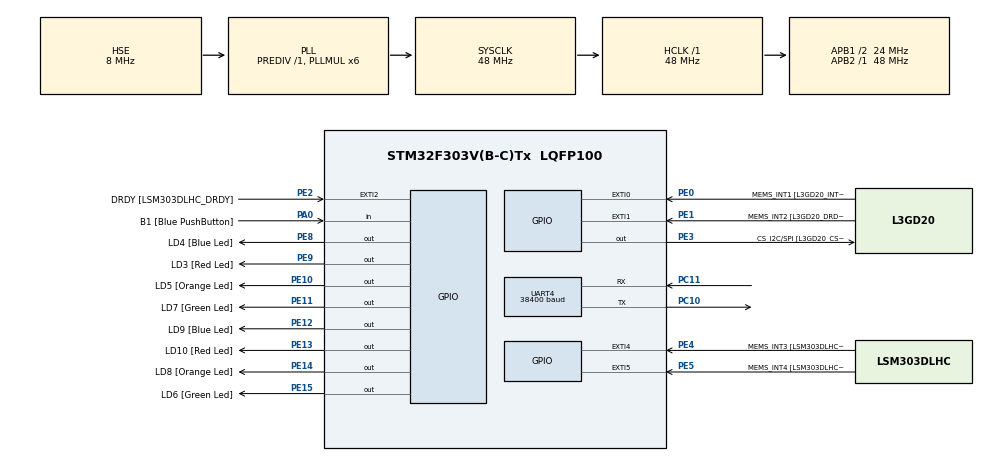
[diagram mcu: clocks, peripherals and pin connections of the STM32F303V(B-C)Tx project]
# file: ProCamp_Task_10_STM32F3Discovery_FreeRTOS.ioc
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FREERTOS.Tasks01=defaultTask,0,255,StartDefaultTask,Default,NULL,Dynamic,NULL,NULL;myTask02,0,128,StartTask02,Default,NULL,Dynamic,NULL,NULL
FREERTOS.configGENERATE_RUN_TIME_STATS=1
FREERTOS.configUSE_IDLE_HOOK=1
FREERTOS.configUSE_NEWLIB_REENTRANT=1
FREERTOS.configUSE_STATS_FORMATTING_FUNCTIONS=1
FREERTOS.configUSE_TRACE_FACILITY=1
Mcu.Family=STM32F3
Mcu.Name=STM32F303V(B-C)Tx
Mcu.Package=LQFP100
NVIC.PriorityGroup=NVIC_PRIORITYGROUP_4
NVIC.TIM1_UP_TIM16_IRQn=true\:15\:0\:false\:false\:true\:false\:false\:true
NVIC.TimeBase=TIM1_UP_TIM16_IRQn
NVIC.TimeBaseIP=TIM1
PA0.GPIO_Label=B1 [Blue PushButton]
PA0.Signal=GPIO_Input
PA11.GPIO_Label=DM
PA11.Signal=USB_DM
PA12.GPIO_Label=DP
PA12.Signal=USB_DP
PA13.GPIO_Label=SWDIO
PA13.Mode=Serial_Wire
PA13.Signal=SYS_JTMS-SWDIO
PA14.GPIO_Label=SWCLK
PA14.Mode=Serial_Wire
PA14.Signal=SYS_JTCK-SWCLK
PA5.GPIO_Label=SPI1_SCK [L3GD20_SCL/SPC]
PA5.Signal=SPI1_SCK
PA6.GPIO_Label=SPI1_MISO [L3GD20_SA0/SDO]
PA6.Signal=SPI1_MISO
PA7.GPIO_Label=SPI1_MISO [L3GD20_SDA/SDI/SDO]
PA7.Signal=SPI1_MOSI
PB3.GPIO_Label=SWO
PB3.Signal=SYS_JTDO-TRACESWO
PB6.GPIO_Label=I2C1_SCL [LSM303DLHC_SCL]
PB6.GPIO_Pu=GPIO_PULLUP
PB6.Signal=I2C1_SCL
PB7.GPIO_Label=I2C1_SDA [LSM303DLHC_SDA]
PB7.GPIO_Pu=GPIO_PULLUP
PB7.Signal=I2C1_SDA
PC10.Mode=Asynchronous
PC10.Signal=UART4_TX
PC11.Mode=Asynchronous
PC11.Signal=UART4_RX
PC14-OSC32_IN.GPIO_Label=OSC32_IN
PC14-OSC32_IN.Signal=RCC_OSC32_IN
PC15-OSC32_OUT.GPIO_Label=OSC32_OUT
PC15-OSC32_OUT.Signal=RCC_OSC32_OUT
PE0.GPIO_Label=MEMS_INT1 [L3GD20_INT1]
PE0.GPIO_ModeDefaultEXTI=GPIO_MODE_EVT_RISING
PE0.Signal=GPXTI0
PE1.GPIO_Label=MEMS_INT2 [L3GD20_DRDY/INT2]
PE1.GPIO_ModeDefaultEXTI=GPIO_MODE_EVT_RISING
PE1.Signal=GPXTI1
PE10.GPIO_Label=LD5 [Orange Led]
PE10.Signal=GPIO_Output
PE11.GPIO_Label=LD7 [Green Led]
PE11.Signal=GPIO_Output
PE12.GPIO_Label=LD9 [Blue Led]
PE12.Signal=GPIO_Output
PE13.GPIO_Label=LD10 [Red Led]
PE13.Signal=GPIO_Output
PE14.GPIO_Label=LD8 [Orange Led]
PE14.Signal=GPIO_Output
PE15.GPIO_Label=LD6 [Green Led]
PE15.Signal=GPIO_Output
PE2.GPIO_Label=DRDY [LSM303DLHC_DRDY]
PE2.GPIO_ModeDefaultEXTI=GPIO_MODE_EVT_RISING
PE2.Signal=GPXTI2
PE3.GPIO_Label=CS_I2C/SPI [L3GD20_CS_I2C/SPI]
PE3.Signal=GPIO_Output
PE4.GPIO_Label=MEMS_INT3 [LSM303DLHC_INT1]
PE4.GPIO_ModeDefaultEXTI=GPIO_MODE_EVT_RISING
PE4.Signal=GPXTI4
PE5.GPIO_Label=MEMS_INT4 [LSM303DLHC_INT2]
PE5.GPIO_ModeDefaultEXTI=GPIO_MODE_EVT_RISING
PE5.Signal=GPXTI5
PE8.GPIO_Label=LD4 [Blue Led]
PE8.Signal=GPIO_Output
PE9.GPIO_Label=LD3 [Red Led]
PE9.Signal=GPIO_Output
PF0-OSC_IN.GPIO_Label=OSC_IN
PF0-OSC_IN.Mode=HSE-External-Clock-Source
PF0-OSC_IN.Signal=RCC_OSC_IN
PF1-OSC_OUT.GPIO_Label=OSC_OUT
PF1-OSC_OUT.Signal=RCC_OSC_OUT
ProjectManager.HeapSize=0x200
ProjectManager.StackSize=0x400
ProjectManager.TargetToolchain=STM32CubeIDE
RCC.AHBFreq_Value=48000000
RCC.APB1CLKDivider=RCC_HCLK_DIV2
RCC.APB1Freq_Value=24000000
RCC.APB1TimFreq_Value=48000000
RCC.APB2Freq_Value=48000000
RCC.APB2TimFreq_Value=48000000
RCC.CortexFreq_Value=48000000
RCC.HCLKFreq_Value=48000000
RCC.HSE_VALUE=8000000
RCC.HSI_VALUE=8000000
RCC.LSE_VALUE=32768
RCC.PLLMUL=RCC_PLL_MUL6
RCC.PLLSourceVirtual=RCC_PLLSOURCE_HSE
RCC.SYSCLKFreq_VALUE=48000000
RCC.SYSCLKSourceVirtual=RCC_SYSCLKSOURCE_PLLCLK
RCC.USBFreq_Value=48000000
UART4.BaudRate=38400
VP_FREERTOS_VS_CMSIS_V1.Mode=CMSIS_V1
VP_SYS_VS_tim1.Mode=TIM1
board=STM32F3DISCOVERY

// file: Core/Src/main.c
/* USER CODE BEGIN Header */
/**
  ******************************************************************************
  * @file           : main.c
  * @brief          : Main program body
  ******************************************************************************
  * @attention
  *
  * <h2><center>&copy; Copyright (c) 2021 STMicroelectronics.
  * All rights reserved.</center></h2>
  *
  * This software component is licensed by ST under BSD 3-Clause license,
  * the "License"; You may not use this file except in compliance with the
  * License. You may obtain a copy of the License at:
  *                        opensource.org/licenses/BSD-3-Clause
  *
  ******************************************************************************
  */
/* USER CODE END Header */
#include "main.h"
#include "cmsis_os.h"

/* USER CODE BEGIN Includes */
#include "stdio.h"
#include "string.h"
/* USER CODE END Includes */

UART_HandleTypeDef huart4;

osThreadId defaultTaskHandle;
osThreadId myTask02Handle;
/* USER CODE BEGIN PV */
osThreadId Task01Handle;
unsigned long ulIdleCycleCount = 0UL;
char str1[60];
char str_buf[1000]={'\0'};
/* USER CODE END PV */

void SystemClock_Config(void);
static void MX_GPIO_Init(void);
static void MX_UART4_Init(void);
void StartDefaultTask(void const * argument);
void StartTask02(void const * argument);

/* USER CODE BEGIN PFP */
void Task01(void const * argument);
/* USER CODE END PFP */

int main(void)
{

  /* MCU Configuration--------------------------------------------------------*/

  /* Reset of all peripherals, Initializes the Flash interface and the Systick. */
  HAL_Init();

  /* Configure the system clock */
  SystemClock_Config();

  /* Initialize all configured peripherals */
  MX_GPIO_Init();
  MX_UART4_Init();

  /* Create the thread(s) */
  /* definition and creation of defaultTask */
  osThreadDef(defaultTask, StartDefaultTask, osPriorityNormal, 0, 255);
  defaultTaskHandle = osThreadCreate(osThread(defaultTask), NULL);

  /* definition and creation of myTask02 */
  osThreadDef(myTask02, StartTask02, osPriorityNormal, 0, 128);
  myTask02Handle = osThreadCreate(osThread(myTask02), NULL);

  /* Start scheduler */
  osKernelStart();

  /* We should never get here as control is now taken by the scheduler */
  /* Infinite loop */
  while (1)
  {

  }
}

void SystemClock_Config(void)
{
  RCC_OscInitTypeDef RCC_OscInitStruct = {0};
  RCC_ClkInitTypeDef RCC_ClkInitStruct = {0};
  RCC_PeriphCLKInitTypeDef PeriphClkInit = {0};

  /** Initializes the RCC Oscillators according to the specified parameters
  * in the RCC_OscInitTypeDef structure.
  */
  RCC_OscInitStruct.OscillatorType = RCC_OSCILLATORTYPE_HSE;
  RCC_OscInitStruct.HSEState = RCC_HSE_BYPASS;
  RCC_OscInitStruct.HSEPredivValue = RCC_HSE_PREDIV_DIV1;
  RCC_OscInitStruct.HSIState = RCC_HSI_ON;
  RCC_OscInitStruct.PLL.PLLState = RCC_PLL_ON;
  RCC_OscInitStruct.PLL.PLLSource = RCC_PLLSOURCE_HSE;
  RCC_OscInitStruct.PLL.PLLMUL = RCC_PLL_MUL6;
  if (HAL_RCC_OscConfig(&RCC_OscInitStruct) != HAL_OK)
  {
    Error_Handler();
  }
  /** Initializes the CPU, AHB and APB buses clocks
  */
  RCC_ClkInitStruct.ClockType = RCC_CLOCKTYPE_HCLK|RCC_CLOCKTYPE_SYSCLK
                              |RCC_CLOCKTYPE_PCLK1|RCC_CLOCKTYPE_PCLK2;
  RCC_ClkInitStruct.SYSCLKSource = RCC_SYSCLKSOURCE_PLLCLK;
  RCC_ClkInitStruct.AHBCLKDivider = RCC_SYSCLK_DIV1;
  RCC_ClkInitStruct.APB1CLKDivider = RCC_HCLK_DIV2;
  RCC_ClkInitStruct.APB2CLKDivider = RCC_HCLK_DIV1;

  if (HAL_RCC_ClockConfig(&RCC_ClkInitStruct, FLASH_LATENCY_1) != HAL_OK)
  {
    Error_Handler();
  }
  PeriphClkInit.PeriphClockSelection = RCC_PERIPHCLK_UART4;
  PeriphClkInit.Uart4ClockSelection = RCC_UART4CLKSOURCE_PCLK1;
  if (HAL_RCCEx_PeriphCLKConfig(&PeriphClkInit) != HAL_OK)
  {
    Error_Handler();
  }
}

static void MX_UART4_Init(void)
{

  huart4.Instance = UART4;
  huart4.Init.BaudRate = 38400;
  huart4.Init.WordLength = UART_WORDLENGTH_8B;
  huart4.Init.StopBits = UART_STOPBITS_1;
  huart4.Init.Parity = UART_PARITY_NONE;
  huart4.Init.Mode = UART_MODE_TX_RX;
  huart4.Init.HwFlowCtl = UART_HWCONTROL_NONE;
  huart4.Init.OverSampling = UART_OVERSAMPLING_16;
  huart4.Init.OneBitSampling = UART_ONE_BIT_SAMPLE_DISABLE;
  huart4.AdvancedInit.AdvFeatureInit = UART_ADVFEATURE_NO_INIT;
  if (HAL_UART_Init(&huart4) != HAL_OK)
  {
    Error_Handler();
  }

}

static void MX_GPIO_Init(void)
{
  GPIO_InitTypeDef GPIO_InitStruct = {0};

  /* GPIO Ports Clock Enable */
  __HAL_RCC_GPIOE_CLK_ENABLE();
  __HAL_RCC_GPIOC_CLK_ENABLE();
  __HAL_RCC_GPIOF_CLK_ENABLE();
  __HAL_RCC_GPIOA_CLK_ENABLE();
  __HAL_RCC_GPIOB_CLK_ENABLE();

  /*Configure GPIO pin Output Level */
  HAL_GPIO_WritePin(GPIOE, CS_I2C_SPI_Pin|LD4_Pin|LD3_Pin|LD5_Pin
                          |LD7_Pin|LD9_Pin|LD10_Pin|LD8_Pin
                          |LD6_Pin, GPIO_PIN_RESET);

  /*Configure GPIO pins : DRDY_Pin MEMS_INT3_Pin MEMS_INT4_Pin MEMS_INT1_Pin
                           MEMS_INT2_Pin */
  GPIO_InitStruct.Pin = DRDY_Pin|MEMS_INT3_Pin|MEMS_INT4_Pin|MEMS_INT1_Pin
                          |MEMS_INT2_Pin;
  GPIO_InitStruct.Mode = GPIO_MODE_EVT_RISING;
  GPIO_InitStruct.Pull = GPIO_NOPULL;
  HAL_GPIO_Init(GPIOE, &GPIO_InitStruct);

  /*Configure GPIO pins : CS_I2C_SPI_Pin LD4_Pin LD3_Pin LD5_Pin
                           LD7_Pin LD9_Pin LD10_Pin LD8_Pin
                           LD6_Pin */
  GPIO_InitStruct.Pin = CS_I2C_SPI_Pin|LD4_Pin|LD3_Pin|LD5_Pin
                          |LD7_Pin|LD9_Pin|LD10_Pin|LD8_Pin
                          |LD6_Pin;
  GPIO_InitStruct.Mode = GPIO_MODE_OUTPUT_PP;
  GPIO_InitStruct.Pull = GPIO_NOPULL;
  GPIO_InitStruct.Speed = GPIO_SPEED_FREQ_LOW;
  HAL_GPIO_Init(GPIOE, &GPIO_InitStruct);

  /*Configure GPIO pin : B1_Pin */
  GPIO_InitStruct.Pin = B1_Pin;
  GPIO_InitStruct.Mode = GPIO_MODE_INPUT;
  GPIO_InitStruct.Pull = GPIO_NOPULL;
  HAL_GPIO_Init(B1_GPIO_Port, &GPIO_InitStruct);

  /*Configure GPIO pins : SPI1_SCK_Pin SPI1_MISO_Pin SPI1_MISOA7_Pin */
  GPIO_InitStruct.Pin = SPI1_SCK_Pin|SPI1_MISO_Pin|SPI1_MISOA7_Pin;
  GPIO_InitStruct.Mode = GPIO_MODE_AF_PP;
  GPIO_InitStruct.Pull = GPIO_NOPULL;
  GPIO_InitStruct.Speed = GPIO_SPEED_FREQ_HIGH;
  GPIO_InitStruct.Alternate = GPIO_AF5_SPI1;
  HAL_GPIO_Init(GPIOA, &GPIO_InitStruct);

  /*Configure GPIO pins : DM_Pin DP_Pin */
  GPIO_InitStruct.Pin = DM_Pin|DP_Pin;
  GPIO_InitStruct.Mode = GPIO_MODE_AF_PP;
  GPIO_InitStruct.Pull = GPIO_NOPULL;
  GPIO_InitStruct.Speed = GPIO_SPEED_FREQ_HIGH;
  GPIO_InitStruct.Alternate = GPIO_AF14_USB;
  HAL_GPIO_Init(GPIOA, &GPIO_InitStruct);

  /*Configure GPIO pins : I2C1_SCL_Pin I2C1_SDA_Pin */
  GPIO_InitStruct.Pin = I2C1_SCL_Pin|I2C1_SDA_Pin;
  GPIO_InitStruct.Mode = GPIO_MODE_AF_OD;
  GPIO_InitStruct.Pull = GPIO_PULLUP;
  GPIO_InitStruct.Speed = GPIO_SPEED_FREQ_HIGH;
  GPIO_InitStruct.Alternate = GPIO_AF4_I2C1;
  HAL_GPIO_Init(GPIOB, &GPIO_InitStruct);

}

/* USER CODE BEGIN 4 */
void vApplicationIdleHook( void )
{
	ulIdleCycleCount++;
}

void Task01(void const * argument)
{
  sprintf(str1,"Task01: \t %lu \r\n", osKernelSysTick());
  HAL_UART_Transmit(&huart4,(uint8_t*)str1,strlen(str1),100);
  sprintf(str1,"ulIdleCycleCount = %lu \r\n\n", ulIdleCycleCount);
  HAL_UART_Transmit(&huart4, (uint8_t*)str1, strlen(str1), 100);
  osDelay(100);
  osThreadTerminate(NULL);
}
/* USER CODE END 4 */

void StartDefaultTask(void const * argument)
{
  /* USER CODE BEGIN 5 */
  /* Infinite loop */
  for(;;)
  {
	HAL_UART_Transmit(&huart4,(uint8_t*)"//------\n\r",strlen("//------\n\r"),100);

	osThreadDef(tsk01, Task01, osPriorityLow, 0, 128);
	Task01Handle = osThreadCreate(osThread(tsk01), NULL);

    unsigned portBASE_TYPE task_priority_2;
    task_priority_2 = uxTaskPriorityGet(myTask02Handle);

    osThreadList((unsigned char *)str_buf);
    sprintf(str1,"Stage 1:\r\nName          State  Priority  Stack   Num\r\n");
    HAL_UART_Transmit(&huart4,(uint8_t*)str1,strlen(str1),100);
    HAL_UART_Transmit(&huart4,(uint8_t*)str_buf,strlen(str_buf),100);
    HAL_UART_Transmit(&huart4,(uint8_t*)"\r\n",2,100);
    osDelay(500);

    vTaskPrioritySet(myTask02Handle, task_priority_2 - 1);

    osThreadList((unsigned char *)str_buf);
    sprintf(str1,"Stage 2:\r\nName          State  Priority  Stack   Num\r\n");
    HAL_UART_Transmit(&huart4,(uint8_t*)str1,strlen(str1),100);
    HAL_UART_Transmit(&huart4,(uint8_t*)str_buf,strlen(str_buf),100);
    HAL_UART_Transmit(&huart4,(uint8_t*)"\r\n",2,100);

    HAL_Delay(5000);
    vTaskPrioritySet(myTask02Handle, task_priority_2);

    osDelay(500);
  }
  /* USER CODE END 5 */
}

void StartTask02(void const * argument)
{
  /* USER CODE BEGIN StartTask02 */
  /* Infinite loop */
  for(;;)
  {
	HAL_GPIO_TogglePin(LD4_GPIO_Port, LD4_Pin);
	osDelay(100);
  }
  /* USER CODE END StartTask02 */
}

void HAL_TIM_PeriodElapsedCallback(TIM_HandleTypeDef *htim)
{
  if (htim->Instance == TIM1) {
    HAL_IncTick();
  }
}

void Error_Handler(void)
{
  __disable_irq();
  while (1)
  {
  }
}

/************************ (C) COPYRIGHT STMicroelectronics *****END OF FILE****/

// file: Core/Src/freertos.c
/* USER CODE BEGIN Header */
/**
  ******************************************************************************
  * File Name          : freertos.c
  * Description        : Code for freertos applications
  ******************************************************************************
  * @attention
  *
  * <h2><center>&copy; Copyright (c) 2021 STMicroelectronics.
  * All rights reserved.</center></h2>
  *
  * This software component is licensed by ST under Ultimate Liberty license
  * SLA0044, the "License"; You may not use this file except in compliance with
  * the License. You may obtain a copy of the License at:
  *                             www.st.com/SLA0044
  *
  ******************************************************************************
  */
/* USER CODE END Header */

#include "FreeRTOS.h"
#include "task.h"
#include "main.h"

/* GetIdleTaskMemory prototype (linked to static allocation support) */
void vApplicationGetIdleTaskMemory( StaticTask_t **ppxIdleTaskTCBBuffer, StackType_t **ppxIdleTaskStackBuffer, uint32_t *pulIdleTaskStackSize );

/* Hook prototypes */
void configureTimerForRunTimeStats(void);
unsigned long getRunTimeCounterValue(void);
void vApplicationIdleHook(void);

/* USER CODE BEGIN 1 */
/* Functions needed when configGENERATE_RUN_TIME_STATS is on */
__weak void configureTimerForRunTimeStats(void)
{

}

__weak unsigned long getRunTimeCounterValue(void)
{
return 0;
}
/* USER CODE END 1 */

/* USER CODE BEGIN 2 */
__weak void vApplicationIdleHook( void )
{
   /* vApplicationIdleHook() will only be called if configUSE_IDLE_HOOK is set
   to 1 in FreeRTOSConfig.h. It will be called on each iteration of the idle
   task. It is essential that code added to this hook function never attempts
   to block in any way (for example, call xQueueReceive() with a block time
   specified, or call vTaskDelay()). If the application makes use of the
   vTaskDelete() API function (as this demo application does) then it is also
   important that vApplicationIdleHook() is permitted to return to its calling
   function, because it is the responsibility of the idle task to clean up
   memory allocated by the kernel to any task that has since been deleted. */
}
/* USER CODE END 2 */

/* USER CODE BEGIN GET_IDLE_TASK_MEMORY */
static StaticTask_t xIdleTaskTCBBuffer;
static StackType_t xIdleStack[configMINIMAL_STACK_SIZE];

void vApplicationGetIdleTaskMemory( StaticTask_t **ppxIdleTaskTCBBuffer, StackType_t **ppxIdleTaskStackBuffer, uint32_t *pulIdleTaskStackSize )
{
  *ppxIdleTaskTCBBuffer = &xIdleTaskTCBBuffer;
  *ppxIdleTaskStackBuffer = &xIdleStack[0];
  *pulIdleTaskStackSize = configMINIMAL_STACK_SIZE;
  /* place for user code */
}
/* USER CODE END GET_IDLE_TASK_MEMORY */

/************************ (C) COPYRIGHT STMicroelectronics *****END OF FILE****/
